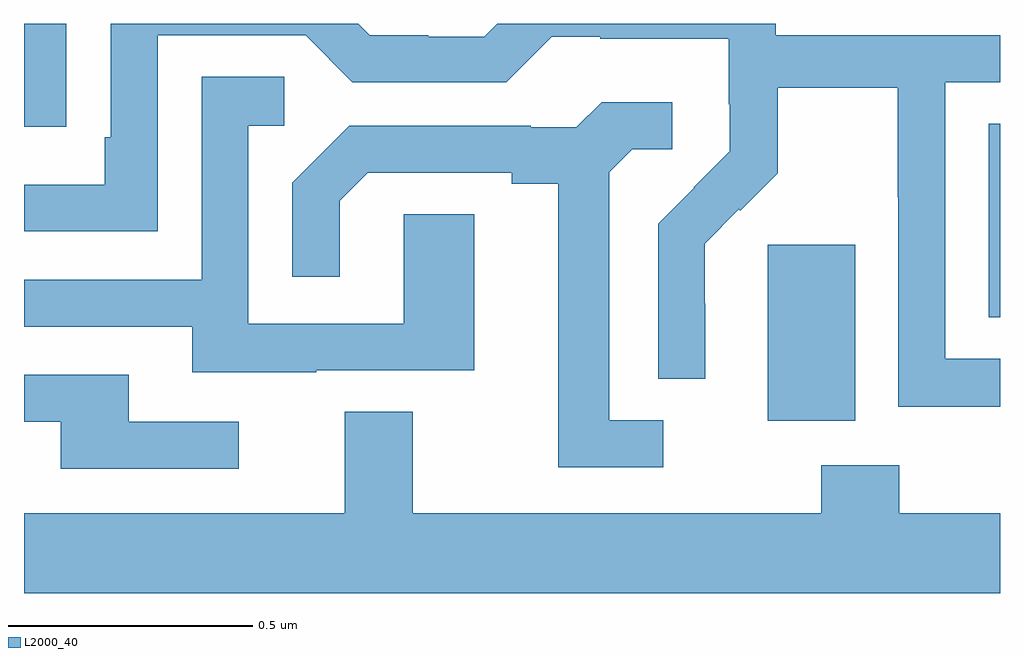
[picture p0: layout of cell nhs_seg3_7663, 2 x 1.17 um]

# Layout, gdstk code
import gdstk
lib = gdstk.Library(unit=1e-6, precision=1e-09)
def R(c, l, rs):  # rectangles x0, y0, x1, y1
    for r in rs: c.add(gdstk.rectangle(r[:2], r[2:], *l))
def P(c, l, *ps):  # polygons
    for p in ps: c.add(gdstk.Polygon(p, *l))
L2000_40 = (2000, 40)

nhs_seg3_7663 = lib.new_cell('nhs_seg3_7663')
R(nhs_seg3_7663, L2000_40, [(207.524,718.586,207.703,718.947), (207.977,718.798,208,719.195), (206,719.188,206.087,719.4)])
P(nhs_seg3_7663, L2000_40, [(208,718.713),(207.888,718.713),(207.888,719.28),(208,719.28),(208,719.376),(207.54,719.376),(207.54,719.4),(206.97,719.4),(206.943,719.373),(206.828,719.373),(206.828,719.376),(206.709,719.376),(206.685,719.4),(206.178,719.4),(206.178,719.167),(206.165,719.167),(206.165,719.07),(206,719.07),(206,718.974),(206.274,718.974),(206.274,719.376),(206.577,719.376),(206.673,719.28),(206.988,719.28),(207.081,719.373),(207.181,719.373),(207.181,719.369),(207.444,719.369),(207.444,719.235),(207.446,719.235),(207.446,719.138),(207.372,719.064),(207.373,719.063),(207.3,718.99),(207.3,718.672),(207.396,718.672),(207.396,718.826),(207.395,718.826),(207.395,718.949),(207.465,719.019),(207.468,719.016),(207.545,719.093),(207.545,719.268),(207.79,719.268),(207.79,719.044),(207.792,719.044),(207.792,718.615),(208,718.615)],
  [(206.599,718.689),(206.923,718.689),(206.923,719.009),(206.778,719.009),(206.778,718.785),(206.46,718.785),(206.46,719.19),(206.533,719.19),(206.533,719.291),(206.364,719.291),(206.364,718.875),(206,718.875),(206,718.779),(206.345,718.779),(206.345,718.685),(206.599,718.685)],
  [(207.31,718.587),(207.199,718.587),(207.199,719.095),(207.246,719.142),(207.328,719.142),(207.328,719.239),(207.184,719.239),(207.132,719.187),(207.038,719.187),(207.038,719.19),(206.666,719.19),(206.55,719.074),(206.55,718.881),(206.647,718.881),(206.647,719.037),(206.704,719.094),(206.999,719.094),(206.999,719.072),(207.095,719.072),(207.095,718.491),(207.31,718.491)],
  [(206.44,718.584),(206.215,718.584),(206.215,718.68),(206,718.68),(206,718.584),(206.075,718.584),(206.075,718.488),(206.44,718.488)],
  [(208,718.396),(207.794,718.396),(207.794,718.495),(207.634,718.495),(207.634,718.396),(206.797,718.396),(206.797,718.604),(206.657,718.604),(206.657,718.396),(206,718.396),(206,718.232),(208,718.232)])

lib.write_gds('nhs_seg3_7663.gds')
